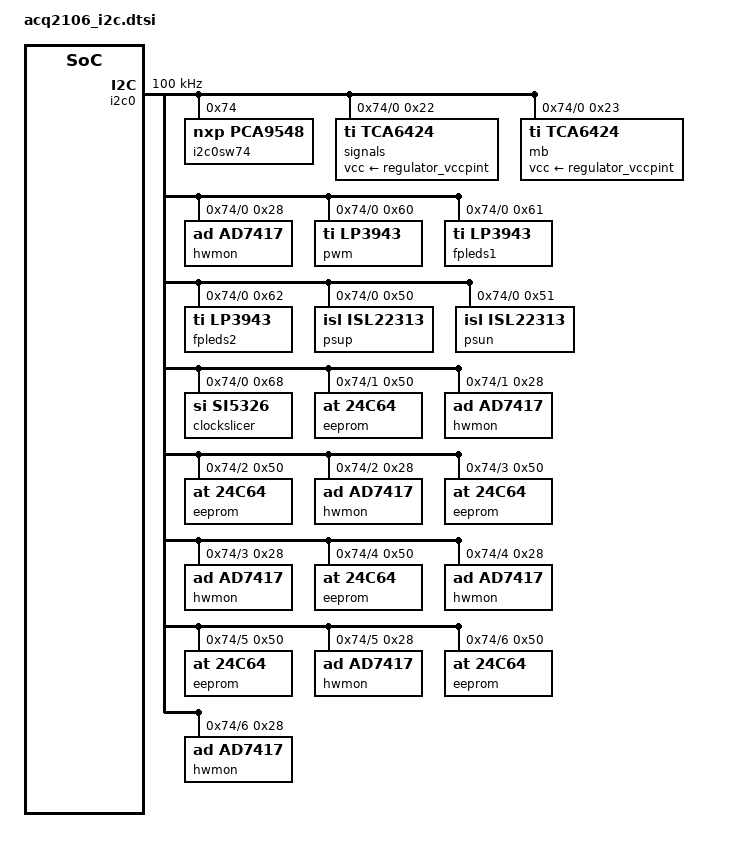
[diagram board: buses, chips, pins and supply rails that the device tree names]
&i2c0 {
	status = "okay";
	clock-frequency = <100000>;
	
	i2c-reset = <&gpio0 46 0>;
	i2c0sw74: i2cswitch@74 {
		compatible = "nxp,pca9548";
		#address-cells = <1>;
		#size-cells = <0>;
		reg = <0x74>;
		
		mb_i2c: i2c@0 {
			#address-cells = <1>;
			#size-cells = <0>;
			reg = <0>;
			
			signals: gpio@22 {
				compatible="ti,tca6424";
				vcc-supply = <&regulator_vccpint>;
				interrupts = <0 0>;
				reg=<0x22>;
			};
			mb: gpio@23 {
				compatible="ti,tca6424";
				vcc-supply = <&regulator_vccpint>;
				interrupts = <0 0>;
				reg=<0x23>;
			};												
			hwmon@28 {
				compatible="ad,ad7417";
				reg=<0x28>;
			};
			
			pwm: lp3943@60 {
				compatible = "ti,lp3943";
				reg = <0x60>;
				
				leds {
					compatible = "ti,lp3943-gpio";
					gpio-controller;
					#gpio-cells = <2>;
				};						
				pwm {
					compatible = "ti,lp3943-pwm";
					#pwm-cells = <2>;													
					ti,pwm0 = <0>; /* LED0=FAN */
					ti,pwm1 = <15>; /* ZFAN */
				};
			};
			/* d37 || new_fpleds */
			fpleds1: lp3943@61 {
				status = "okay";
				compatible = "ti,lp3943";
				reg = <0x61>;
				leds {
					compatible = "ti,lp3943-gpio";
					gpio-controller;
					#gpio-cells = <16>;
				};
				pwm {
					compatible = "ti,lp3943-pwm";
					#pwm-cells = <0>;													
				};				
			};
			/* !d37 && new_fpleds */
			fpleds2: lp3943@62 {
				status = "okay";
				compatible = "ti,lp3943";
				reg = <0x62>;
				leds {
					compatible = "ti,lp3943-gpio";
					gpio-controller;
					#gpio-cells = <16>;
				};
				pwm {
					compatible = "ti,lp3943-pwm";
					#pwm-cells = <0>;													
				};				
			};			
			psup: isl22313@50 {
				compatible = "isl,isl22313";
				reg = <0x50>;
			};
			psun: isl22313@51 {
				compatible = "isl,isl22313";
				reg = <0x51>; 
			};
			clockslicer: si5326@68 {
				compatible="si,si5326";
				reg=<0x68>;
			};
		};

		elf1: i2c@1 {
			#address-cells = <1>;
			#size-cells = <0>;
			reg = <0x1>;
	
			eeprom@50 {
				compatible = "at,24c64";
				reg = <0x50>;
			};
			hwmon@28 {
				compatible="ad,ad7417";
				reg=<0x28>;
			};
		};
		elf2: i2c@2 {
			#address-cells = <1>;
			#size-cells = <0>;
			reg = <0x2>;
		
			eeprom@50 {
				compatible = "at,24c64";
				reg = <0x50>;
			};
			hwmon@28 {
				compatible="ad,ad7417";
				reg=<0x28>;
			};
		};
		elf3: i2c@3 {
			#address-cells = <1>;
			#size-cells = <0>;
			reg = <0x3>;
		
			eeprom@50 {
				compatible = "at,24c64";
				reg = <0x50>;
			};
			hwmon@28 {
				compatible="ad,ad7417";
				reg=<0x28>;
			};
		};
		elf4: i2c@4 {
			#address-cells = <1>;
			#size-cells = <0>;
			reg = <0x4>;
		
			eeprom@50 {
				compatible = "at,24c64";
				reg = <0x50>;
			};
			hwmon@28 {
				compatible="ad,ad7417";
				reg=<0x28>;
			};
		};	
		elf5: i2c@5 {
			#address-cells = <1>;
			#size-cells = <0>;
			reg = <0x5>;
		
			eeprom@50 {
				compatible = "at,24c64";
				reg = <0x50>;
			};
			hwmon@28 {
				compatible="ad,ad7417";
				reg=<0x28>;
			};
		};
		elf6: i2c@6 {
			#address-cells = <1>;
			#size-cells = <0>;
			reg = <0x6>;
		
			eeprom@50 {
				compatible = "at,24c64";
				reg = <0x50>;
			};
			hwmon@28 {
				compatible="ad,ad7417";
				reg=<0x28>;
			};
		};		
	};
	fans {
		pwms = <&pwm 0 5000000 1>;
		pwm_names = "fan";			
	};
};
